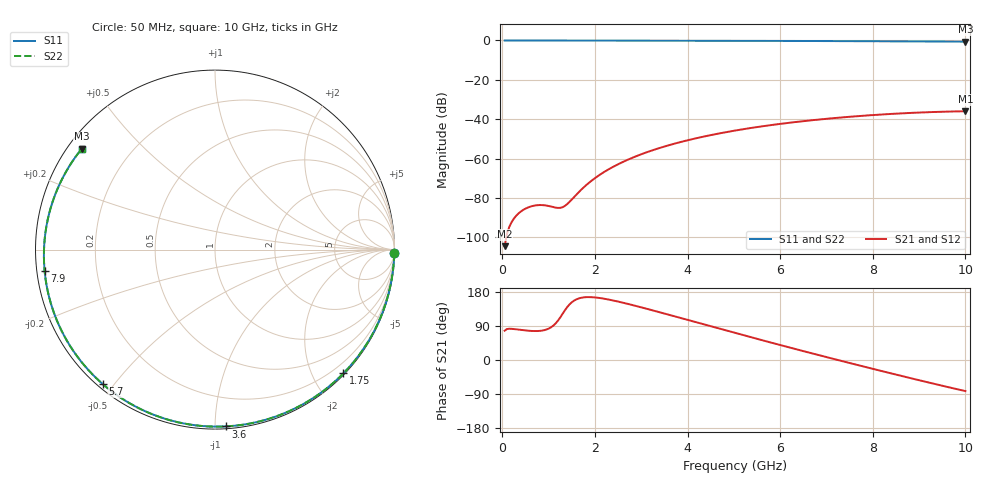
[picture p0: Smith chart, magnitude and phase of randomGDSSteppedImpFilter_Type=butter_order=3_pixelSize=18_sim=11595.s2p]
! freq	dB(S11)	phase(S11)	dB(S12)	phase(S12)
!  dB(S21)	phase(S21)	dB(S22)	phase(S22)
!S-par simulation data
#  GHz  S  DB  R 50
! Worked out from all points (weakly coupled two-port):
!   200 points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, 50 MHz to 10 GHz, reference 50 ohm
!   highest |S21| = -35.96 dB at 10 GHz (marker M1); lowest = -104.5 dB at 50 MHz (marker M2)
!   lowest |S11| = -0.6 dB at 10 GHz (marker M3), VSWR 28.02, Z = 1.99 + j16.8 ohm
!   |S11| at or under -10 dB: nowhere
!   |S22| runs from -0.6 to 0.0 dB; largest |S21 - S12| = 0
!   S11 on the Smith chart (normalised r, x): 50 MHz: 1, -92; 1.75 GHz: 0.02, -2.48; 3.6 GHz: 0.01, -1.06; 5.7 GHz: 0.01, -0.47; 7.9 GHz: 0.02, -0.06; 10 GHz: 0.04, +0.34
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0.05  -0.00 -1.2  -104.51 77.3  -104.51 77.3  -0.00 -1.2
0.4  -0.02 -10.2  -86.91 79.5  -86.91 79.5  -0.02 -10.2
0.75  -0.02 -19.1  -83.71 76.4  -83.71 76.4  -0.02 -19.1
1.5  -0.05 -37.8  -80.81 152.3  -80.81 152.3  -0.05 -37.8
1.55  -0.05 -39.0  -79.55 156.7  -79.55 156.7  -0.05 -39.0
1.75  -0.06 -43.9  -74.80 165.2  -74.80 165.2  -0.06 -43.9
2.05  -0.07 -51.1  -69.12 164.5  -69.12 164.5  -0.07 -51.1
2.45  -0.08 -60.6  -63.50 155.6  -63.50 155.6  -0.08 -60.6
2.9  -0.09 -70.9  -58.73 142.2  -58.73 142.2  -0.09 -70.9
3.4  -0.11 -82.1  -54.60 125.9  -54.60 125.9  -0.11 -82.1
3.6  -0.11 -86.5  -53.20 119.3  -53.20 119.3  -0.11 -86.5
4.3  -0.14 -101.4  -49.09 95.8  -49.09 95.8  -0.14 -101.4
5.05  -0.18 -116.8  -45.68 70.7  -45.68 70.7  -0.18 -116.8
5.7  -0.21 -129.7  -43.32 49.3  -43.32 49.3  -0.21 -129.7
6.2  -0.24 -139.5  -41.81 33.1  -41.81 33.1  -0.24 -139.5
6.7  -0.28 -149.2  -40.50 17.1  -40.50 17.1  -0.28 -149.3
7.3  -0.33 -160.9  -39.17 -1.7  -39.17 -1.7  -0.33 -160.9
7.9  -0.38 -172.7  -38.07 -20.3  -38.07 -20.3  -0.38 -172.8
8.35  -0.43 178.2  -37.39 -33.9  -37.39 -33.9  -0.43 178.2
8.8  -0.48 169.0  -36.83 -47.4  -36.83 -47.4  -0.48 169.0
9.2  -0.52 160.5  -36.44 -59.3  -36.44 -59.3  -0.52 160.5
10  -0.62 142.8  -35.96 -82.1  -35.96 -82.1  -0.62 142.8
